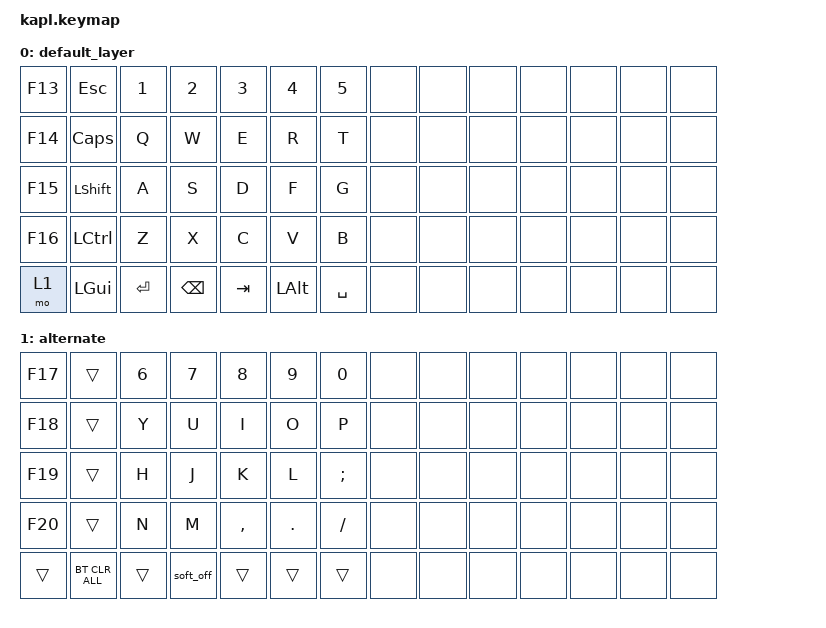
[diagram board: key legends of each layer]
#include <behaviors.dtsi>
#include <dt-bindings/zmk/keys.h>
#include <dt-bindings/zmk/bt.h>

#define BTCA BT_CLR_ALL

// explicitly only for left hand side for gaming use

/ {
    keymap {
        compatible = "zmk,keymap";

        default_layer { // Layer 0
            // -------------------------------------
            // |    F13    |    ESC    |     1     |     2     |     3     |     4     |     5     |           | --------- | --------- | --------- | --------- | --------- | --------- | --------- |
            // |    F14    |    CAPS   |     Q     |     W     |     E     |     R     |     T     |           | --------- | --------- | --------- | --------- | --------- | --------- | --------- |
            // |    F15    |   LSHFT   |     A     |     S     |     D     |     F     |     G     |           | --------- | --------- | --------- | --------- | --------- | --------- | --------- |
            // |    F16    |   LCTRL   |     Z     |     X     |     C     |     V     |     B     |           | --------- | --------- | --------- | --------- | --------- | --------- | --------- |
            // |    MO1    |    LGUI   |    RGUI   |    BSPC   |    TAB    | |    LALT   |    SPC    |       | --------- | --------- | | --------- | --------- | --------- | --------- | --------- |
            bindings = <
                &kp F13   &kp ESC   &kp N1    &kp N2    &kp N3    &kp N4    &kp N5             &none     &none     &none     &none     &none     &none     &none
                &kp F14   &kp CAPS  &kp Q     &kp W     &kp E     &kp R     &kp T              &none     &none     &none     &none     &none     &none     &none
                &kp F15   &kp LSHFT &kp A     &kp S     &kp D     &kp F     &kp G              &none     &none     &none     &none     &none     &none     &none
                &kp F16   &kp LCTRL &kp Z     &kp X     &kp C     &kp V     &kp B              &none     &none     &none     &none     &none     &none     &none
                &mo 1     &kp LGUI  &kp RET   &kp BSPC  &kp TAB   &kp LALT  &kp SPACE          &none     &none     &none     &none     &none     &none     &none
            >;
        };

        alternate { // Layer 1
        // -------------------------------------
            // |    F17    |   trans   |     6     |     7     |     8     |     9     |     0     |           | --------- | --------- | --------- | --------- | --------- | --------- | --------- |
            // |    F18    |   trans   |     Y     |     U     |     I     |     O     |     P     |           | --------- | --------- | --------- | --------- | --------- | --------- | --------- |
            // |    F19    |   trans   |     H     |     J     |     K     |     L     |     ;     |           | --------- | --------- | --------- | --------- | --------- | --------- | --------- |
            // |    F20    |   trans   |     N     |     M     |     ,     |     .     |     /     |           | --------- | --------- | --------- | --------- | --------- | --------- | --------- |
            // |   trans   |    BTCA   |   trans   |    OFF    |   trans   | |   trans   |   trans   |       | --------- | --------- | | --------- | --------- | --------- | --------- | --------- |
            bindings = <
                &kp F17   &trans    &kp N6    &kp N7    &kp N8    &kp N9    &kp N0             &none     &none     &none     &none     &none     &none     &none
                &kp F18   &trans    &kp Y     &kp U     &kp I     &kp O     &kp P              &none     &none     &none     &none     &none     &none     &none
                &kp F19   &trans    &kp H     &kp J     &kp K     &kp L     &kp SEMI           &none     &none     &none     &none     &none     &none     &none
                &kp F20   &trans    &kp N     &kp M     &kp COMMA &kp DOT   &kp FSLH           &none     &none     &none     &none     &none     &none     &none
                &trans    &bt BTCA  &trans    &soft_off &trans    &trans    &trans             &none     &none     &none     &none     &none     &none     &none
            >;
        };
    };
 };
